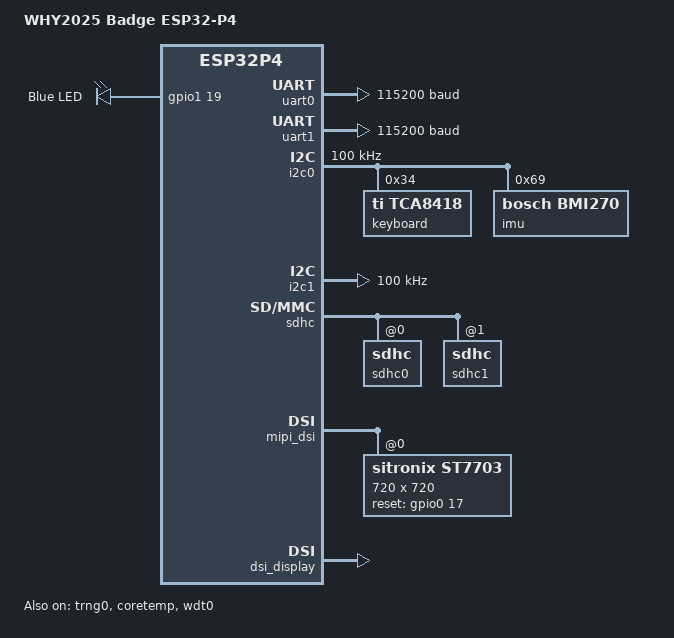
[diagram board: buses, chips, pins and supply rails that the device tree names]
/*
 * SPDX-FileCopyrightText: Copyright The Zephyr Project Contributors
 * SPDX-License-Identifier: Apache-2.0
 */

/dts-v1/;

#include <espressif/esp32p4/esp32p4.dtsi>
#include "why2025_badge_esp32p4_hpcore-pinctrl.dtsi"
#include <zephyr/dt-bindings/display/panel.h>
#include <zephyr/dt-bindings/input/input-event-codes.h>
#include <zephyr/dt-bindings/input/keymap.h>
#include <zephyr/dt-bindings/lvgl/lvgl.h>
#include <zephyr/dt-bindings/mipi_dsi/mipi_dsi.h>
#include <espressif/partitions_0x2000_default_16M.dtsi>

/ {
	model = "WHY2025 Badge ESP32-P4";
	compatible = "espressif,esp32p4";

	chosen {
		zephyr,sram = &sramhp;
		zephyr,console = &uart0;
		zephyr,shell-uart = &uart0;
		zephyr,flash = &flash0;
		zephyr,code-partition = &slot0_partition;
		zephyr,bt-hci = &esp_hosted_mcu_hci;
		zephyr,display = &dsi_display;
	};

	aliases {
		led0 = &blue_led;
		sdhc0 = &sdhc0;
		watchdog0 = &wdt0;
	};

	leds {
		compatible = "gpio-leds";

		blue_led: led_0 {
			gpios = <&gpio1 19 GPIO_ACTIVE_HIGH>;	/* GPIO51 */
			label = "Blue LED";
		};
	};

	lvgl_keypad: lvgl-keypad {
		compatible = "zephyr,lvgl-keypad-input";
		input = <&keymap>;
		input-codes = <INPUT_KEY_UP INPUT_KEY_DOWN INPUT_KEY_LEFT INPUT_KEY_RIGHT
			       INPUT_KEY_ENTER INPUT_KEY_ESC INPUT_KEY_BACKSPACE INPUT_KEY_TAB>;
		lvgl-codes = <LV_KEY_UP LV_KEY_DOWN LV_KEY_LEFT LV_KEY_RIGHT
			      LV_KEY_ENTER LV_KEY_ESC LV_KEY_BACKSPACE LV_KEY_NEXT>;
	};
};

&flash0 {
	reg = <0x0 DT_SIZE_M(16)>;
	ranges = <0x0 0x0 DT_SIZE_M(16)>;
};

/* 256 Mbit in the ESP32-P4NRW16 package */
&psram0 {
	size = <DT_SIZE_M(32)>;
};

/* Pre-v3 silicon: valid CPU frequencies are 90, 180 and 360 MHz */
&cpu0 {
	clock-frequency = <DT_FREQ_M(360)>;
};

&cpu1 {
	clock-frequency = <DT_FREQ_M(360)>;
};

&uart0 {
	status = "okay";
	current-speed = <115200>;
	pinctrl-0 = <&uart0_default>;
	pinctrl-names = "default";
};

&uart1 {
	status = "okay";
	current-speed = <115200>;
	pinctrl-0 = <&uart1_default>;
	pinctrl-names = "default";
};

&gpio0 {
	status = "okay";
};

&gpio1 {
	status = "okay";
};

&trng0 {
	status = "okay";
};

&coretemp {
	status = "okay";
};

&wdt0 {
	status = "okay";
};

&dma {
	status = "okay";
};

&dma_axi {
	status = "okay";
};

&i2c0 {
	status = "okay";
	clock-frequency = <I2C_BITRATE_STANDARD>;
	pinctrl-0 = <&i2c0_default>;
	pinctrl-names = "default";

	/*
	 * The interrupt line only reaches header J7 and the reset line is the
	 * ESP32-C6 enable, so the controller is polled and never reset here.
	 */
	keyboard: keyboard@34 {
		compatible = "ti,tca8418";
		reg = <0x34>;
		row-size = <8>;
		col-size = <10>;

		keymap: keymap {
			compatible = "input-keymap";
			keymap = <
				MATRIX_KEY(0, 0, INPUT_KEY_ESC)
				/* Square, triangle, cross, circle, cloud, diamond */
				MATRIX_KEY(0, 1, INPUT_KEY_F1)
				MATRIX_KEY(0, 2, INPUT_KEY_F2)
				MATRIX_KEY(0, 3, INPUT_KEY_F3)
				MATRIX_KEY(0, 4, INPUT_KEY_F4)
				MATRIX_KEY(0, 5, INPUT_KEY_F5)
				MATRIX_KEY(0, 6, INPUT_KEY_F6)
				MATRIX_KEY(0, 7, INPUT_KEY_BACKSPACE)
				MATRIX_KEY(0, 8, INPUT_KEY_0)
				MATRIX_KEY(0, 9, INPUT_KEY_MINUS)
				MATRIX_KEY(1, 0, INPUT_KEY_GRAVE)
				MATRIX_KEY(1, 1, INPUT_KEY_1)
				MATRIX_KEY(1, 2, INPUT_KEY_2)
				MATRIX_KEY(1, 3, INPUT_KEY_3)
				MATRIX_KEY(1, 4, INPUT_KEY_4)
				MATRIX_KEY(1, 5, INPUT_KEY_5)
				MATRIX_KEY(1, 6, INPUT_KEY_6)
				MATRIX_KEY(1, 7, INPUT_KEY_7)
				MATRIX_KEY(1, 8, INPUT_KEY_8)
				MATRIX_KEY(1, 9, INPUT_KEY_9)
				MATRIX_KEY(2, 0, INPUT_KEY_TAB)
				MATRIX_KEY(2, 1, INPUT_KEY_Q)
				MATRIX_KEY(2, 2, INPUT_KEY_W)
				MATRIX_KEY(2, 3, INPUT_KEY_E)
				MATRIX_KEY(2, 4, INPUT_KEY_R)
				MATRIX_KEY(2, 5, INPUT_KEY_T)
				MATRIX_KEY(2, 6, INPUT_KEY_Y)
				MATRIX_KEY(2, 7, INPUT_KEY_U)
				MATRIX_KEY(2, 8, INPUT_KEY_I)
				MATRIX_KEY(2, 9, INPUT_KEY_O)
				/* Fn modifier; Zephyr has no Fn key code */
				MATRIX_KEY(3, 0, INPUT_KEY_RIGHTMETA)
				MATRIX_KEY(3, 1, INPUT_KEY_A)
				MATRIX_KEY(3, 2, INPUT_KEY_S)
				MATRIX_KEY(3, 3, INPUT_KEY_D)
				MATRIX_KEY(3, 4, INPUT_KEY_F)
				MATRIX_KEY(3, 5, INPUT_KEY_G)
				MATRIX_KEY(3, 6, INPUT_KEY_H)
				MATRIX_KEY(3, 7, INPUT_KEY_J)
				MATRIX_KEY(3, 8, INPUT_KEY_K)
				MATRIX_KEY(3, 9, INPUT_KEY_L)
				MATRIX_KEY(4, 0, INPUT_KEY_LEFTSHIFT)
				MATRIX_KEY(4, 1, INPUT_KEY_Z)
				MATRIX_KEY(4, 2, INPUT_KEY_X)
				MATRIX_KEY(4, 3, INPUT_KEY_C)
				MATRIX_KEY(4, 4, INPUT_KEY_V)
				MATRIX_KEY(4, 5, INPUT_KEY_B)
				MATRIX_KEY(4, 6, INPUT_KEY_N)
				MATRIX_KEY(4, 7, INPUT_KEY_M)
				MATRIX_KEY(4, 8, INPUT_KEY_COMMA)
				MATRIX_KEY(4, 9, INPUT_KEY_DOT)
				MATRIX_KEY(5, 0, INPUT_KEY_LEFT)
				MATRIX_KEY(5, 1, INPUT_KEY_DOWN)
				MATRIX_KEY(5, 2, INPUT_KEY_RIGHT)
				MATRIX_KEY(5, 3, INPUT_KEY_SLASH)
				MATRIX_KEY(5, 4, INPUT_KEY_UP)
				MATRIX_KEY(5, 5, INPUT_KEY_RIGHTSHIFT)
				MATRIX_KEY(5, 6, INPUT_KEY_SEMICOLON)
				MATRIX_KEY(5, 7, INPUT_KEY_APOSTROPHE)
				MATRIX_KEY(5, 8, INPUT_KEY_ENTER)
				MATRIX_KEY(5, 9, INPUT_KEY_EQUAL)
				MATRIX_KEY(6, 0, INPUT_KEY_LEFTCTRL)
				MATRIX_KEY(6, 1, INPUT_KEY_LEFTMETA)
				MATRIX_KEY(6, 2, INPUT_KEY_LEFTALT)
				MATRIX_KEY(6, 3, INPUT_KEY_BACKSLASH)
				/* The space bar closes three matrix positions */
				MATRIX_KEY(6, 4, INPUT_KEY_SPACE)
				MATRIX_KEY(6, 5, INPUT_KEY_SPACE)
				MATRIX_KEY(6, 6, INPUT_KEY_SPACE)
				MATRIX_KEY(6, 7, INPUT_KEY_RIGHTALT)
				MATRIX_KEY(6, 8, INPUT_KEY_P)
				MATRIX_KEY(6, 9, INPUT_KEY_LEFTBRACE)
				MATRIX_KEY(7, 9, INPUT_KEY_RIGHTBRACE)
			>;
			row-size = <8>;
			col-size = <10>;
		};
	};

	/* Its interrupt lines only reach header J7 */
	imu: imu@69 {
		compatible = "bosch,bmi270";
		reg = <0x69>;
	};
};

/* Add-on header J7 */
&i2c1 {
	status = "okay";
	clock-frequency = <I2C_BITRATE_STANDARD>;
	pinctrl-0 = <&i2c1_default>;
	pinctrl-names = "default";
};

/*
 * LDO channel 1 feeds the 1.8 V flash and is left as the boot ROM set it.
 * Channel 3 feeds the MIPI DSI PHY, channel 4 the microSD card.
 */
&ldo {
	status = "okay";

	ldo3@3 {
		regulator-init-microvolt = <2500000>;
		regulator-boot-on;
		regulator-always-on;
	};

	ldo4@4 {
		regulator-init-microvolt = <3300000>;
		regulator-boot-on;
		regulator-always-on;
	};
};

&sdhc {
	/* microSD slot; its card detect line is not connected */
	sdhc0: sdhc@0 {
		status = "okay";
		bus-width = <4>;
		max-bus-freq = <40000000>;
		clk-pin = <43>;
		cmd-pin = <44>;
		d0-pin = <39>;
		d1-pin = <40>;
		d2-pin = <41>;
		d3-pin = <42>;

		mmc {
			compatible = "zephyr,sdmmc-disk";
			disk-name = "SD";
			status = "okay";
		};
	};

	/* ESP32-C6 running the esp-hosted-mcu slave firmware */
	sdhc1: sdhc@1 {
		status = "okay";
		bus-width = <4>;
		max-bus-freq = <40000000>;
		clk-pin = <32>;
		cmd-pin = <33>;
		d0-pin = <28>;
		d1-pin = <31>;
		d2-pin = <30>;
		d3-pin = <29>;
		#address-cells = <1>;
		#size-cells = <0>;

		esp_hosted_mcu: esp-hosted-mcu@0 {
			compatible = "espressif,esp-hosted-mcu";
			reg = <0>;
			/* ESP32-C6 enable, shared with the keyboard controller reset */
			reset-gpios = <&gpio0 12 GPIO_ACTIVE_LOW>;
			status = "okay";

			esp_hosted_mcu_wifi: wifi {
				compatible = "espressif,esp-hosted-mcu-wifi";
				status = "okay";
			};

			esp_hosted_mcu_hci: bt-hci {
				compatible = "espressif,esp-hosted-mcu-bt-hci";
				status = "okay";
			};
		};
	};
};

&mipi_dsi {
	status = "okay";
	phy-clock = <1000000000>;
	dpi-clock-frequency = <47000000>;

	/* 720x720 panel; its backlight is driven by the ESP32-C6 */
	st7703: panel-controller@0 {
		compatible = "sitronix,st7703";
		reg = <0>;
		data-lanes = <2>;
		pixel-format = <MIPI_DSI_PIXFMT_RGB565>;
		width = <720>;
		height = <720>;
		/* Inverted by a transistor: high holds the panel in reset */
		reset-gpios = <&gpio0 17 GPIO_ACTIVE_HIGH>;
		/* MY: with the transposed scanout (swap-xy) the picture is upright; RGB order */
		madctl = <0x80>;

		display-timings {
			compatible = "zephyr,panel-timing";
			hsync-len = <60>;
			hback-porch = <120>;
			hfront-porch = <106>;
			vsync-len = <4>;
			vback-porch = <20>;
			vfront-porch = <20>;
			hsync-active = <0>;
			vsync-active = <0>;
			de-active = <1>;
			pixelclk-active = <0>;
		};
	};
};

&dsi_display {
	status = "okay";
	pixel-format = <PANEL_PIXEL_FORMAT_RGB_565>;
	width = <720>;
	height = <720>;
	/* The panel is mounted turned: it shows the framebuffer's columns as its rows. */
	swap-xy;
};
